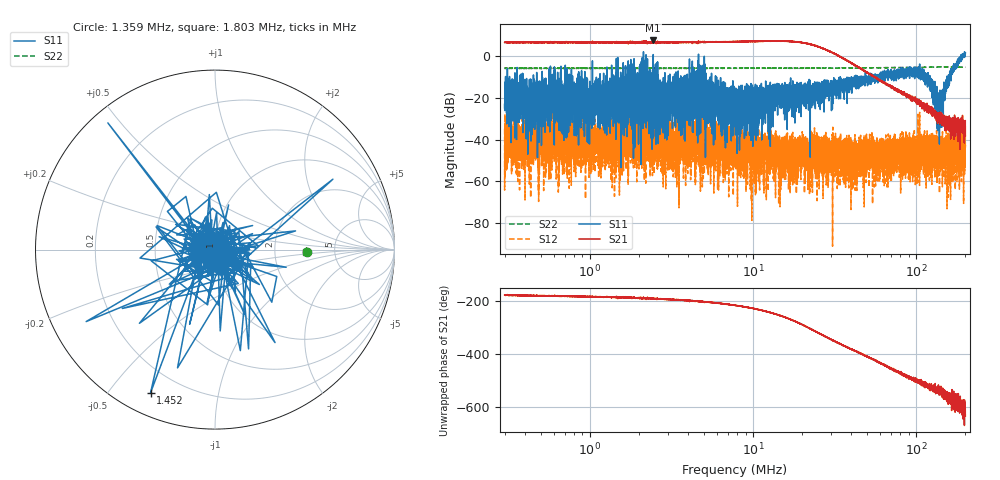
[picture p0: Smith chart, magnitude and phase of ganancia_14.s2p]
# Hz S DB R 50
! CMT, M5065, 19127446, 24.2.4/2
! Date: 11/1/2024 4:22:57 PM
! Data: Format (Calibration Info)
! Freq	S11:dB/Ang(F2)	S21:dB/Ang(F2)	S12:dB/Ang(F2)	S22:dB/Ang(F2)
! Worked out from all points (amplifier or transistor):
!   9000 points, 300 kHz to 200 MHz, reference 50 ohm
!   highest |S21| = 7.4 dB at 2.444 MHz (marker M1)
!   |S21| within 3 dB of that: start of sweep to 24.85 MHz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
!   unconditionally stable (mu >= 1): 2.445 MHz to 4.626 MHz; 4.632 MHz to 187.3 MHz; 187.5 MHz to 189.5 MHz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
!   at 886.8 kHz: K = 19.37, MAG = 7.9 dB, |S12| = -40.9 dB
!   at 7.749 MHz: K = 22.30, MAG = 8.2 dB, |S12| = -42.5 dB
!   at 200 MHz: K = -1644.69, MSG = 2.2 dB, |S12| = -42.7 dB
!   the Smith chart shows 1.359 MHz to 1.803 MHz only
!   S11 on the Smith chart (normalised r, x): 1.359 MHz: 0.86, -0.04; 1.452 MHz: 0.09, -0.64; 1.803 MHz: 1.26, -0.25
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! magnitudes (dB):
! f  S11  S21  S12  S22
! 300 kHz  -24.8  6.5  -34.8  -5.9
! 311.9 kHz  -6.1  6.4  -26.0  -6.1
! 359.7 kHz  -18.5  6.6  -44.6  -5.9
! 474.3 kHz  -16.6  6.4  -37.7  -5.8
! 886.8 kHz  -24.7  6.5  -40.9  -5.9
! 968.5 kHz  -22.0  6.5  -40.0  -5.8
! 1.359 MHz  -22.3  6.5  -34.9  -5.8
! 1.452 MHz  -1.2  6.9  -37.3  -5.8
! 1.803 MHz  -16.1  6.4  -38.8  -5.9
! 2.444 MHz  0.7  7.4  -24.4  -5.8
! 2.621 MHz  -34.4  6.5  -47.1  -5.9
! 4.869 MHz  -13.0  6.8  -23.1  -6.0
! 5.634 MHz  -25.7  6.7  -50.5  -5.9
! 6.048 MHz  -21.6  6.8  -45.4  -5.9
! 7.749 MHz  -30.3  6.9  -42.5  -5.9
! 22.91 MHz  -18.0  5.5  -63.0  -5.8
! 67.71 MHz  -9.5  -13.8  -44.4  -5.6
! 108.4 MHz  -8.0  -22.3  -46.5  -5.5
! 121.4 MHz  -11.7  -26.0  -47.4  -5.3
! 138.6 MHz  -42.1  -30.5  -52.4  -5.2
! 164.9 MHz  -8.5  -32.1  -48.9  -5.2
! 200 MHz  1.5  -38.3  -42.7  -5.3
